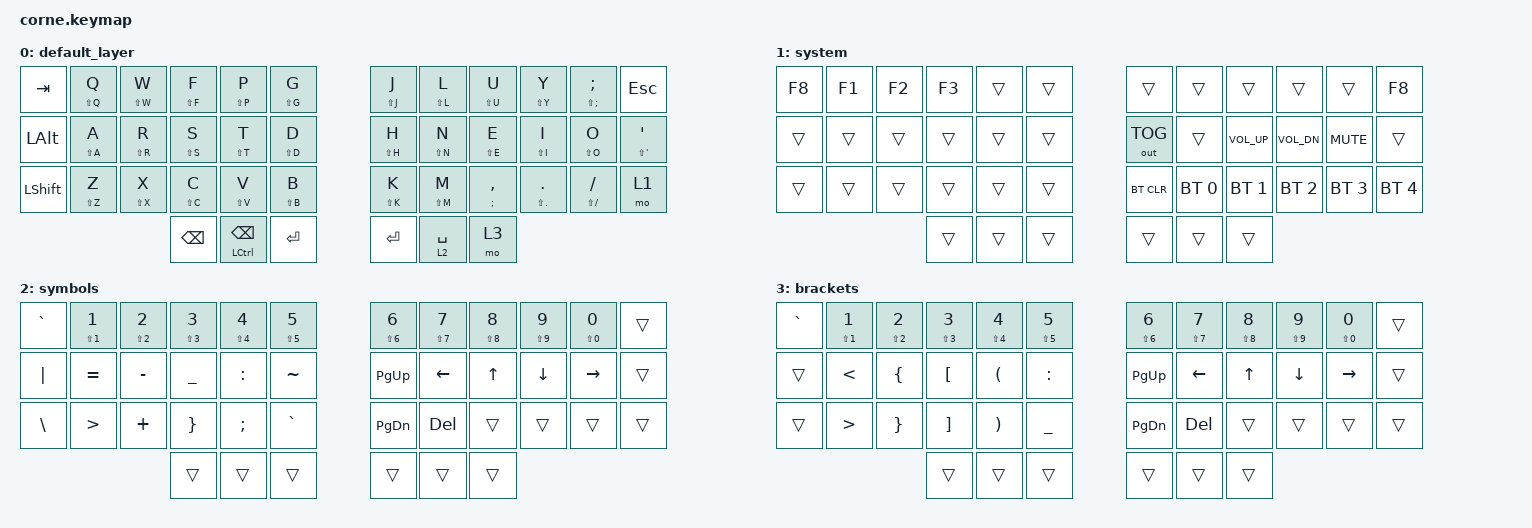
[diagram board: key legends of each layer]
#include <behaviors.dtsi>
#include <dt-bindings/zmk/bt.h>
#include <dt-bindings/zmk/keys.h>
#include <dt-bindings/zmk/outputs.h>

#define DEFAULT 0
#define LOWER 1
#define RAISE 2
#define NAV 3

/ {
    behaviors {
        htp: homerow_mods {
            compatible = "zmk,behavior-hold-tap";
            label = "HOMEROW_MODS";
            #binding-cells = <2>;
            tapping-term-ms = <250>;
            quick-tap-ms = <0>;
            flavor = "tap-preferred";
            bindings = <&kp>, <&kp>;
        };
    };

    keymap {
        compatible = "zmk,keymap";

        default_layer {
            bindings = <
&kp TAB    &htp LS(Q) Q  &htp LS(W) W  &htp LS(F) F  &htp LS(P) P    &htp LS(G) G    &htp LS(J) J  &htp LS(L) L  &htp LS(U) U     &htp LS(Y) Y      &htp LS(SEMI) SEMI  &kp ESC
&kp LALT   &htp LS(A) A  &htp LS(R) R  &htp LS(S) S  &htp LS(T) T    &htp LS(D) D    &htp LS(H) H  &htp LS(N) N  &htp LS(E) E     &htp LS(I) I      &htp LS(O) O        &htp LS(SQT) SQT
&kp LSHFT  &htp LS(Z) Z  &htp LS(X) X  &htp LS(C) C  &htp LS(V) V    &htp LS(B) B    &htp LS(K) K  &htp LS(M) M  &htp SEMI COMMA  &htp LS(DOT) DOT  &htp LS(FSLH) FSLH  &mo 1
                                       &kp BSPC      &htp LCTL BSPC  &kp RET         &kp RET       &lt 2 SPC     &mo 3
            >;
        };

        system {
            bindings = <
&kp F8  &kp F1  &kp F2  &kp F3  &trans  &trans    &trans        &trans        &trans        &trans        &trans        &kp F8
&trans  &trans  &trans  &trans  &trans  &trans    &out OUT_TOG  &trans        &kp C_VOL_UP  &kp C_VOL_DN  &kp C_MUTE    &trans
&trans  &trans  &trans  &trans  &trans  &trans    &bt BT_CLR    &bt BT_SEL 0  &bt BT_SEL 1  &bt BT_SEL 2  &bt BT_SEL 3  &bt BT_SEL 4
                        &trans  &trans  &trans    &trans        &trans        &trans
            >;
        };

        symbols {
            bindings = <
&kp GRAVE  &htp LS(N1) N1  &htp LS(N2) N2  &htp LS(N3) N3  &htp LS(N4) N4  &htp LS(N5) N5    &htp LS(N6) N6  &htp LS(N7) N7  &htp LS(N8) N8  &htp LS(N9) N9  &htp LS(N0) N0  &trans
&kp PIPE   &kp EQUAL       &kp MINUS       &kp UNDER       &kp COLON       &kp TILDE         &kp PG_UP       &kp LEFT        &kp UP          &kp DOWN        &kp RIGHT       &trans
&kp BSLH   &kp GT          &kp PLUS        &kp RBRC        &kp SEMI        &kp GRAVE         &kp PG_DN       &kp DEL         &trans          &trans          &trans          &trans
                                           &trans          &trans          &trans            &trans          &trans          &trans
            >;
        };

        brackets {
            bindings = <
&kp GRAVE  &htp LS(N1) N1  &htp LS(N2) N2  &htp LS(N3) N3  &htp LS(N4) N4  &htp LS(N5) N5    &htp LS(N6) N6  &htp LS(N7) N7  &htp LS(N8) N8  &htp LS(N9) N9  &htp LS(N0) N0  &trans
&trans     &kp LT          &kp LBRC        &kp LBKT        &kp LPAR        &kp COLON         &kp PG_UP       &kp LEFT        &kp UP          &kp DOWN        &kp RIGHT       &trans
&trans     &kp GT          &kp RBRC        &kp RBKT        &kp RPAR        &kp UNDER         &kp PG_DN       &kp DEL         &trans          &trans          &trans          &trans
                                           &trans          &trans          &trans            &trans          &trans          &trans
            >;
        };
    };
};
